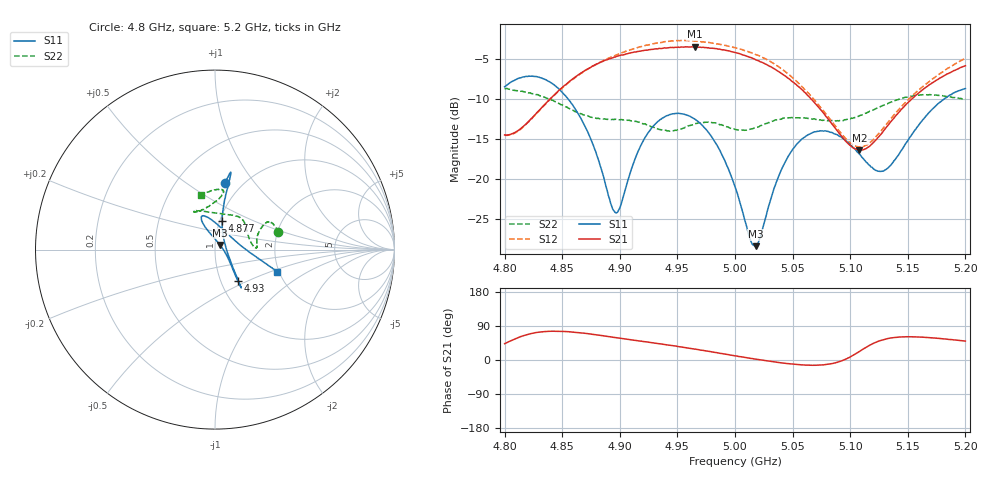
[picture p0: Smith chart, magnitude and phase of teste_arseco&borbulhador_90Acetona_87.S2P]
! Network Analyzer HP8722D
! Hewlett-Packard
! Data name: Linha & Wilkinson
! Saver's name: Rodrigo Anjos
! Comments: Teste da utilização de aquisição
! continua pelo VNA HP8722D
! Time and date: 17/4/2025 11:46
!  Frequency  S11  S21  S12  S22
# HZ  S  MA R 50
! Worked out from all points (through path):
!   401 points, 4.8 GHz to 5.2 GHz, reference 50 ohm
!   highest |S21| = -3.46 dB at 4.965 GHz (marker M1); lowest = -16.4 dB at 5.108 GHz (marker M2)
!   lowest |S11| = -28.3 dB at 5.018 GHz (marker M3), VSWR 1.08, Z = 52.9 + j2.71 ohm
!   |S11| at or under -10 dB: 4.855 GHz to 5.181 GHz (326 MHz wide, 6.5 % of centre)
!   |S22| runs from -14.0 to -8.7 dB; largest |S21 - S12| = 0.24
!   S11 on the Smith chart (normalised r, x): 4.8 GHz: 0.83, +0.72; 4.877 GHz: 1.03, +0.33; 4.93 GHz: 1.21, -0.45; 5.2 GHz: 1.96, -0.56
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4.8e9  0.3778 81.6  0.1891 43.1  0.1884 3.5  0.3661 15.4
4.834e9  0.4229 78.2  0.2895 74.8  0.2875 38.4  0.3266 28.0
4.867e9  0.2342 78.8  0.464 71.2  0.4605 41.6  0.2558 20.3
4.877e9  0.1631 75.8  0.5108 67.5  0.5105 40.4  0.2429 15.4
4.892e9  0.07106 44.1  0.5672 61.3  0.577 38.1  0.2362 8.6
4.897e9  0.0617 13.3  0.5844 58.8  0.5984 37.3  0.236 6.4
4.916e9  0.1502 -46.6  0.6277 50.6  0.6657 33.0  0.2274 2.5
4.93e9  0.2184 -53.3  0.65 44.8  0.7033 28.9  0.2103 7.4
4.934e9  0.2322 -54.3  0.6561 43.0  0.7145 27.6  0.2049 10.3
4.965e9  0.2379 -55.0  0.6718 28.7  0.7288 15.8  0.2224 42.0
4.984e9  0.1648 -49.8  0.6534 19.5  0.6993 8.6  0.2226 56.0
5e9  0.08956 -34.4  0.619 10.9  0.6636 2.9  0.2048 73.9
5.013e9  0.04252 7.6  0.5769 4.5  0.6188 -2.0  0.2052 91.4
5.018e9  0.03827 42.0  0.5569 2.2  0.6003 -3.7  0.2109 98.1
5.043e9  0.1264 112.2  0.4446 -8.5  0.4743 -12.1  0.241 115.9
5.067e9  0.1951 113.2  0.3125 -13.9  0.3244 -13.6  0.2374 118.0
5.087e9  0.1914 105.6  0.2084 -7.7  0.2156 -3.4  0.2317 110.1
5.108e9  0.1436 85.9  0.1521 22.5  0.1589 29.7  0.2491 96.0
5.123e9  0.1133 55.5  0.1778 47.7  0.1867 56.7  0.2779 87.1
5.134e9  0.1202 26.5  0.2227 57.4  0.2327 67.6  0.301 83.0
5.17e9  0.2681 -13.4  0.394 58.8  0.4149 76.4  0.337 86.0
5.2e9  0.3685 -19.4  0.5114 49.9  0.5695 73.6  0.3149 104.2
